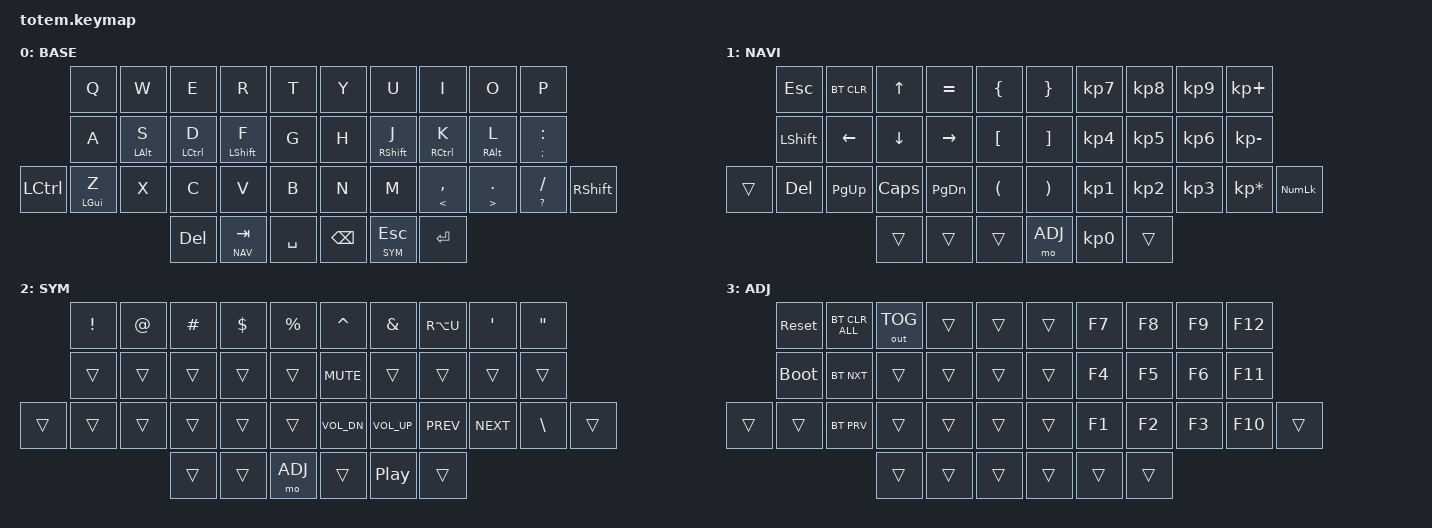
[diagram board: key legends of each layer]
//
//                                                        ▀▀▀▀▀     ▀▀▀▀▀          ▀▀█▀▀
//                                                        ▄▀▀▀▄  ▄  ▄▀▀▀▄  ▄  ▄▀▀▀▄  █  ▄▀▀▀▄
//                                                        █   █  █  █   █  █  █   █  █  █   █
//                                                         ▀▀▀   █   ▀▀▀   █   ▀▀▀   ▀   ▀▀▀
//                                                               █      ▄▄▄█▄▄▄    █   █  
//                                                               ▀      █  █  █     █▄█
//                                                             ▀▀▀▀▀    █  █  █      ▀
//                                                                      ▀  ▀  ▀
//
// ▄▄▄▄▄▄▄▄▄▄▄▄▄▄▄▄▄▄▄▄▄▄▄▄▄▄▄▄▄▄▄▄▄▄▄▄▄▄▄▄▄▄▄▄▄▄▄▄▄▄▄▄▄▄▄▄▄▄▄▄▄▄▄▄▄▄▄▄▄▄▄▄▄▄▄▄▄▄▄▄▄▄▄▄▄▄▄▄▄▄▄▄▄▄▄▄▄▄▄▄▄▄▄▄▄▄▄▄▄▄▄▄▄▄▄▄▄▄▄▄▄▄▄▄▄▄▄▄▄▄▄▄▄▄▄▄▄▄▄▄▄▄▄▄▄▄▄▄▄
       

#include <behaviors.dtsi>
#include <dt-bindings/zmk/keys.h>
#include <dt-bindings/zmk/bt.h>
#include <dt-bindings/zmk/outputs.h>

#define BASE 0
#define NAV  1
#define SYM  2
#define ADJ  3

&mt {
  quick-tap-ms = <100>;
  global-quick-tap;
  flavor = "tap-preferred";
  tapping-term-ms = <300>;
};

/ {
     combos {
            compatible = "zmk,combos";
            combo_esc {
                timeout-ms = <50>;
                key-positions = <0 1>;
                bindings = <&kp ESC>;
            };
    };

    macros {
        gif: gif {
            label = "giphy";
            compatible = "zmk,behavior-macro";
            #binding-cells = <0>;
            bindings
                = <&macro_press &kp LSHFT>
                , <&macro_tap &kp N2>
                , <&macro_release &kp LSHFT>
                , <&macro_tap &kp G &kp I &kp F>
                ;
        };
    };

        keymap {
                compatible = "zmk,keymap";
// ▄▄▄▄▄▄▄▄▄▄▄▄▄▄▄▄▄▄▄▄▄▄▄▄▄▄▄▄▄▄▄▄▄▄▄▄▄▄▄▄▄▄▄▄▄▄▄▄▄▄▄▄▄▄▄▄▄▄▄▄▄▄▄▄▄▄▄▄▄▄▄▄▄▄▄▄▄▄▄▄▄▄▄▄▄▄▄▄▄▄▄▄▄▄▄▄▄▄▄▄▄▄▄▄▄▄▄▄▄▄▄▄▄▄▄▄▄▄▄▄▄▄▄▄▄▄▄▄▄▄▄▄▄▄▄▄▄▄▄▄▄▄▄▄▄▄▄▄▄

                base_layer {
// ┏━━━━━━━━━━━━━━━━━━━━━━━━━━━━━━━━━━━━━━━┓
label= "BASE"                              ;
// ┗━━━━━━━━━━━━━━━━━━━━━━━━━━━━━━━━━━━━━━━┛
//             ┏━━━━━━━━━━━┳━━━━━━━━━━━┳━━━━━━━━━━━┳━━━━━━━━━━━┳━━━━━━━━━━━┓   ┏━━━━━━━━━━━┳━━━━━━━━━━━┳━━━━━━━━━━━┳━━━━━━━━━━━┳━━━━━━━━━━━┓
//             ┃     Q     ┃     W     ┃     E     ┃     R     ┃     T     ┃   ┃     Y     ┃     U     ┃     I     ┃     O     ┃     P     ┃
//             ┣━━━━━━━━━━━╋━━━━━━━━━━━╋━━━━━━━━━━━╋━━━━━━━━━━━╋━━━━━━━━━━━┫   ┣━━━━━━━━━━━╋━━━━━━━━━━━╋━━━━━━━━━━━╋━━━━━━━━━━━╋━━━━━━━━━━━┫
//             ┃     A     ┃     S     ┃     D     ┃     F     ┃     G     ┃   ┃     H     ┃     J     ┃     K     ┃     L     ┃     ;:    ┃
// ┏━━━━━━━━━━━╋━━━━━━━━━━━╋━━━━━━━━━━━╋━━━━━━━━━━━╋━━━━━━━━━━━╋━━━━━━━━━━━┫   ┣━━━━━━━━━━━╋━━━━━━━━━━━╋━━━━━━━━━━━╋━━━━━━━━━━━╋━━━━━━━━━━━╋━━━━━━━━━━━┓
// ┃   LCTRL   ┃     Z     ┃     X     ┃     C     ┃     V     ┃     B     ┃   ┃     N     ┃     M     ┃     ,<    ┃     .>    ┃    /?     ┃   RSHIFT  ┃
// ┗━━━━━━━━━━━┻━━━━━━━━━━━┻━━━━━━━━━━━╋━━━━━━━━━━━╋━━━━━━━━━━━╋━━━━━━━━━━━┫   ┣━━━━━━━━━━━╋━━━━━━━━━━━╋━━━━━━━━━━━╋━━━━━━━━━━━┻━━━━━━━━━━━┻━━━━━━━━━━━┛
//                                     ┃    DEL    ┃    TAB    ┃    SPC    ┃   ┃   BSPC    ┃    ESC    ┃   ENTER   ┃
//                                     ┗━━━━━━━━━━━┻━━━━━━━━━━━┻━━━━━━━━━━━┛   ┗━━━━━━━━━━━┻━━━━━━━━━━━┻━━━━━━━━━━━┛
 bindings = <
// ╷           ╷           ╷           ╷           ╷           ╷           ╷   ╷           ╷           ╷           ╷           ╷           ╷           ╷

                &kp Q       &kp W       &kp E       &kp R       &kp T           &kp Y       &kp U       &kp I       &kp O       &kp P
                &kp A       &mt LALT S  &mt LCTRL D &mt LSHFT F &kp G           &kp H       &mt RSHFT J &mt RCTRL K &mt RALT L  &mt SEMI COLON
    &kp LCTRL   &mt LGUI Z  &kp X       &kp C       &kp V       &kp B           &kp N       &kp M       &mt LESS_THAN COMMA   &mt GREATER_THAN DOT     &mt QUESTION FSLH     &kp RSHIFT
                                        &kp DEL   &lt NAV TAB   &kp SPACE       &kp BSPC    &lt SYM ESC &kp RET
                        >;
                };

// ▄▄▄▄▄▄▄▄▄▄▄▄▄▄▄▄▄▄▄▄▄▄▄▄▄▄▄▄▄▄▄▄▄▄▄▄▄▄▄▄▄▄▄▄▄▄▄▄▄▄▄▄▄▄▄▄▄▄▄▄▄▄▄▄▄▄▄▄▄▄▄▄▄▄▄▄▄▄▄▄▄▄▄▄▄▄▄▄▄▄▄▄▄▄▄▄▄▄▄▄▄▄▄▄▄▄▄▄▄▄▄▄▄▄▄▄▄▄▄▄▄▄▄▄▄▄▄▄▄▄▄▄▄▄▄▄▄▄▄▄▄▄▄▄▄▄▄▄▄


                nav_layer {
// ┏━━━━━━━━━━━━━━━━━━━━━━━━━━━━━━━━━━━━━━━┓
label= "NAVI"                              ;
// ┗━━━━━━━━━━━━━━━━━━━━━━━━━━━━━━━━━━━━━━━┛
//             ┏━━━━━━━━━━━┳━━━━━━━━━━━┳━━━━━━━━━━━┳━━━━━━━━━━━┳━━━━━━━━━━━┓   ┏━━━━━━━━━━━┳━━━━━━━━━━━┳━━━━━━━━━━━┳━━━━━━━━━━━┳━━━━━━━━━━━┓
//             ┃           ┃           ┃     UP    ┃           ┃     {     ┃   ┃     }     ┃     7     ┃     8     ┃     9     ┃     +     ┃
//             ┣━━━━━━━━━━━╋━━━━━━━━━━━╋━━━━━━━━━━━╋━━━━━━━━━━━╋━━━━━━━━━━━┫   ┣━━━━━━━━━━━╋━━━━━━━━━━━╋━━━━━━━━━━━╋━━━━━━━━━━━╋━━━━━━━━━━━┫
//             ┃   SHIFT   ┃   LEFT    ┃    DOWN   ┃   RIGHT   ┃     [     ┃   ┃     ]     ┃     4     ┃     5     ┃     6     ┃     -     ┃
// ┏━━━━━━━━━━━╋━━━━━━━━━━━╋━━━━━━━━━━━╋━━━━━━━━━━━╋━━━━━━━━━━━╋━━━━━━━━━━━┫   ┣━━━━━━━━━━━╋━━━━━━━━━━━╋━━━━━━━━━━━╋━━━━━━━━━━━╋━━━━━━━━━━━╋━━━━━━━━━━━┓
// ┃           ┃           ┃   P UP    ┃  C LOCK   ┃  P DOWN   ┃     (     ┃   ┃     )     ┃     1     ┃     2     ┃     3     ┃     *     ┃  NUM LOCK ┃
// ┗━━━━━━━━━━━┻━━━━━━━━━━━┻━━━━━━━━━━━╋━━━━━━━━━━━╋━━━━━━━━━━━╋━━━━━━━━━━━┫   ┣━━━━━━━━━━━╋━━━━━━━━━━━╋━━━━━━━━━━━╋━━━━━━━━━━━┻━━━━━━━━━━━┻━━━━━━━━━━━┛
//                                     ┃           ┃    TAB    ┃    SPC    ┃   ┃    DEL    ┃     0     ┃           ┃
//                                     ┗━━━━━━━━━━━┻━━━━━━━━━━━┻━━━━━━━━━━━┛   ┗━━━━━━━━━━━┻━━━━━━━━━━━┻━━━━━━━━━━━┛
 bindings = <
// ╷           ╷           ╷           ╷           ╷           ╷           ╷   ╷           ╷           ╷           ╷           ╷           ╷           ╷

                &kp ESC     &bt BT_CLR  &kp UP      &kp EQUAL   &kp LBRC        &kp RBRC    &kp KP_N7   &kp KP_N8   &kp KP_N9   &kp KP_PLUS
                &kp LSHFT   &kp LEFT    &kp DOWN    &kp RIGHT   &kp LBKT        &kp RBKT    &kp KP_N4   &kp KP_N5   &kp KP_N6   &kp KP_MINUS
    &trans      &kp DEL     &kp PG_UP   &kp CAPS    &kp PG_DN   &kp LPAR        &kp RPAR    &kp KP_N1   &kp KP_N2   &kp KP_N3   &kp KP_MULTIPLY &kp KP_NUM      
                                        &trans      &trans      &trans          &mo ADJ     &kp KP_N0   &trans      
                        >;
                };

// ▄▄▄▄▄▄▄▄▄▄▄▄▄▄▄▄▄▄▄▄▄▄▄▄▄▄▄▄▄▄▄▄▄▄▄▄▄▄▄▄▄▄▄▄▄▄▄▄▄▄▄▄▄▄▄▄▄▄▄▄▄▄▄▄▄▄▄▄▄▄▄▄▄▄▄▄▄▄▄▄▄▄▄▄▄▄▄▄▄▄▄▄▄▄▄▄▄▄▄▄▄▄▄▄▄▄▄▄▄▄▄▄▄▄▄▄▄▄▄▄▄▄▄▄▄▄▄▄▄▄▄▄▄▄▄▄▄▄▄▄▄▄▄▄▄▄▄▄▄


                sim_layer {
// ┏━━━━━━━━━━━━━━━━━━━━━━━━━━━━━━━━━━━━━━━┓
label= "SYM"                               ;
// ┗━━━━━━━━━━━━━━━━━━━━━━━━━━━━━━━━━━━━━━━┛
//             ┏━━━━━━━━━━━┳━━━━━━━━━━━┳━━━━━━━━━━━┳━━━━━━━━━━━┳━━━━━━━━━━━┓   ┏━━━━━━━━━━━┳━━━━━━━━━━━┳━━━━━━━━━━━┳━━━━━━━━━━━┳━━━━━━━━━━━┓
//             ┃     !     ┃     @     ┃     #     ┃     $     ┃     %     ┃   ┃     ˆ     ┃     &     ┃     Ü     ┃     '     ┃     "     ┃
//             ┣━━━━━━━━━━━╋━━━━━━━━━━━╋━━━━━━━━━━━╋━━━━━━━━━━━╋━━━━━━━━━━━┫   ┣━━━━━━━━━━━╋━━━━━━━━━━━╋━━━━━━━━━━━╋━━━━━━━━━━━╋━━━━━━━━━━━┫
//             ┃           ┃           ┃           ┃           ┃           ┃   ┃   MUTE    ┃           ┃           ┃           ┃           ┃
// ┏━━━━━━━━━━━╋━━━━━━━━━━━╋━━━━━━━━━━━╋━━━━━━━━━━━╋━━━━━━━━━━━╋━━━━━━━━━━━┫   ┣━━━━━━━━━━━╋━━━━━━━━━━━╋━━━━━━━━━━━╋━━━━━━━━━━━╋━━━━━━━━━━━╋━━━━━━━━━━━┓
// ┃           ┃           ┃           ┃           ┃           ┃           ┃   ┃   VOL-    ┃   VOL+    ┃   LAST    ┃   NEXT    ┃     \     ┃           ┃
// ┗━━━━━━━━━━━┻━━━━━━━━━━━┻━━━━━━━━━━━╋━━━━━━━━━━━╋━━━━━━━━━━━╋━━━━━━━━━━━┫   ┣━━━━━━━━━━━╋━━━━━━━━━━━╋━━━━━━━━━━━╋━━━━━━━━━━━┻━━━━━━━━━━━┻━━━━━━━━━━━┛
//                                     ┃           ┃           ┃    ADJ    ┃   ┃           ┃           ┃           ┃
//                                     ┗━━━━━━━━━━━┻━━━━━━━━━━━┻━━━━━━━━━━━┛   ┗━━━━━━━━━━━┻━━━━━━━━━━━┻━━━━━━━━━━━┛
 bindings = <
// ╷           ╷           ╷           ╷           ╷           ╷           ╷   ╷           ╷           ╷           ╷           ╷           ╷           ╷

                &kp EXCL    &kp AT      &kp HASH    &kp DLLR    &kp PRCNT       &kp CARET    &kp AMPS     &kp RA(U)    &kp SQT     &kp DQT       
                &trans      &trans      &trans      &trans      &trans          &kp C_MUTE   &trans       &trans       &trans      &trans 
    &trans      &trans      &trans      &trans      &trans      &trans          &kp C_VOL_DN &kp C_VOL_UP &kp C_PREV   &kp C_NEXT  &kp BSLH   &trans         
                                        &trans      &trans      &mo ADJ       &trans       &kp C_PP     &trans      
                        >;
                };

// ▄▄▄▄▄▄▄▄▄▄▄▄▄▄▄▄▄▄▄▄▄▄▄▄▄▄▄▄▄▄▄▄▄▄▄▄▄▄▄▄▄▄▄▄▄▄▄▄▄▄▄▄▄▄▄▄▄▄▄▄▄▄▄▄▄▄▄▄▄▄▄▄▄▄▄▄▄▄▄▄▄▄▄▄▄▄▄▄▄▄▄▄▄▄▄▄▄▄▄▄▄▄▄▄▄▄▄▄▄▄▄▄▄▄▄▄▄▄▄▄▄▄▄▄▄▄▄▄▄▄▄▄▄▄▄▄▄▄▄▄▄▄▄▄▄▄▄▄▄


                adjust_layer {
// ┏━━━━━━━━━━━━━━━━━━━━━━━━━━━━━━━━━━━━━━━┓
label= "ADJ"                               ;
// ┗━━━━━━━━━━━━━━━━━━━━━━━━━━━━━━━━━━━━━━━┛
//             ┏━━━━━━━━━━━┳━━━━━━━━━━━┳━━━━━━━━━━━┳━━━━━━━━━━━┳━━━━━━━━━━━┓   ┏━━━━━━━━━━━┳━━━━━━━━━━━┳━━━━━━━━━━━┳━━━━━━━━━━━┳━━━━━━━━━━━┓
//             ┃   RESET   ┃ BT CLEAR  ┃  OUT TOG  ┃           ┃           ┃   ┃           ┃    F7     ┃    F8     ┃    F9     ┃    F12    ┃
//             ┣━━━━━━━━━━━╋━━━━━━━━━━━╋━━━━━━━━━━━╋━━━━━━━━━━━╋━━━━━━━━━━━┫   ┣━━━━━━━━━━━╋━━━━━━━━━━━╋━━━━━━━━━━━╋━━━━━━━━━━━╋━━━━━━━━━━━┫
//             ┃ BOOTLOAD  ┃ BT NEXT   ┃           ┃           ┃           ┃   ┃           ┃    F4     ┃    F5     ┃    F6     ┃    F11    ┃
// ┏━━━━━━━━━━━╋━━━━━━━━━━━╋━━━━━━━━━━━╋━━━━━━━━━━━╋━━━━━━━━━━━╋━━━━━━━━━━━┫   ┣━━━━━━━━━━━╋━━━━━━━━━━━╋━━━━━━━━━━━╋━━━━━━━━━━━╋━━━━━━━━━━━╋━━━━━━━━━━━┓
// ┃           ┃           ┃ BT PREV   ┃           ┃           ┃           ┃   ┃           ┃    F1     ┃    F2     ┃    F3     ┃    F10    ┃           ┃
// ┗━━━━━━━━━━━┻━━━━━━━━━━━┻━━━━━━━━━━━╋━━━━━━━━━━━╋━━━━━━━━━━━╋━━━━━━━━━━━┫   ┣━━━━━━━━━━━╋━━━━━━━━━━━╋━━━━━━━━━━━╋━━━━━━━━━━━┻━━━━━━━━━━━┻━━━━━━━━━━━┛
//                                     ┃           ┃           ┃           ┃   ┃           ┃           ┃           ┃
//                                     ┗━━━━━━━━━━━┻━━━━━━━━━━━┻━━━━━━━━━━━┛   ┗━━━━━━━━━━━┻━━━━━━━━━━━┻━━━━━━━━━━━┛
 bindings = <
// ╷           ╷           ╷           ╷           ╷           ╷           ╷   ╷           ╷           ╷           ╷           ╷           ╷           ╷

                &sys_reset  &bt BT_CLR_ALL &out OUT_TOG &trans      &trans          &trans      &kp F7      &kp F8      &kp F9      &kp F12
                &bootloader &bt BT_NXT  &trans      &trans      &trans          &trans      &kp F4      &kp F5      &kp F6      &kp F11  
    &trans      &trans      &bt BT_PRV  &trans      &trans      &trans          &trans      &kp F1      &kp F2      &kp F3      &kp F10     &trans         
                                        &trans      &trans      &trans          &trans      &trans      &trans      
                        >;
                };

// ▄▄▄▄▄▄▄▄▄▄▄▄▄▄▄▄▄▄▄▄▄▄▄▄▄▄▄▄▄▄▄▄▄▄▄▄▄▄▄▄▄▄▄▄▄▄▄▄▄▄▄▄▄▄▄▄▄▄▄▄▄▄▄▄▄▄▄▄▄▄▄▄▄▄▄▄▄▄▄▄▄▄▄▄▄▄▄▄▄▄▄▄▄▄▄▄▄▄▄▄▄▄▄▄▄▄▄▄▄▄▄▄▄▄▄▄▄▄▄▄▄▄▄▄▄▄▄▄▄▄▄▄▄▄▄▄▄▄▄▄▄▄▄▄▄▄▄▄▄

        };
};
